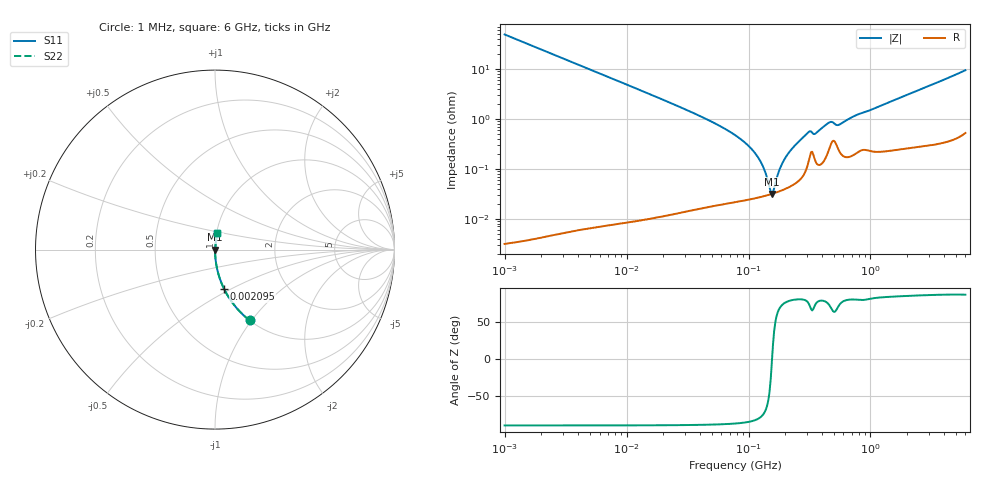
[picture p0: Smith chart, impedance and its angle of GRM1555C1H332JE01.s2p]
!Murata Part Number: GRM1555C1H332JE01
!These Parameters are Measured in Series Mode Connection
!Data Generated on Mar 30, 2021
!  o--ll--o
!Port1  Port2
!  o------o
!Operation Temp=25[degC], DC Bias Voltage=0[V]
!Freq. Start=1000[kHz] Stop=6[GHz] 401[Steps]
# Hz S RI R 50
!Freq.(Hz) S11(Real) S11(Imag) S21(Real) S21(Imag) S12(Real) S12(Imag) S22(Real) S22(Imag)
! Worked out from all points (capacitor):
!   401 points, 1 MHz to 6 GHz, reference 50 ohm
!   read as one part in series: C = 3.25 nF near 1.044 MHz
!   lowest |Z| = 31.4 mohm at 155.4 MHz (marker M1)
!   series resonance near 155.9 MHz, so ESL is about 320 pH
!   S11 on the Smith chart (normalised r, x): 1 MHz: 1.00, -0.98; 2.095 MHz: 1.00, -0.47; 6 GHz: 1.01, +0.19
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1000000  0.1931 -0.3947  0.8069 0.3947  0.8069 0.3947  0.1931 -0.3947
2094801  0.0517 -0.2214  0.9483 0.2214  0.9483 0.2214  0.0517 -0.2214
4293785  0.0128 -0.1123  0.9872 0.1123  0.9872 0.1123  0.0128 -0.1123
1.843659e7  0.000788 -0.0261  0.9992 0.0261  0.9992 0.0261  0.000788 -0.0261
4.596069e7  0.000263 -0.00966  0.9997 0.00966  0.9997 0.00966  0.000263 -0.00966
7.745967e7  0.000236 -0.00473  0.9998 0.00473  0.9998 0.00473  0.000236 -0.00473
1.005588e8  0.000249 -0.00283  0.9998 0.00283  0.9998 0.00283  0.000249 -0.00283
1.196694e8  0.000267 -0.00167  0.9997 0.00167  0.9997 0.00167  0.000267 -0.00167
1.334167e8  0.000283 -0.000979  0.9997 0.000979  0.9997 0.000979  0.000283 -0.000979
1.487431e8  0.000304 -0.000295  0.9997 0.000295  0.9997 0.000295  0.000304 -0.000295
1.553559e8  0.000314 -2.21e-05  0.9997 2.21e-05  0.9997 2.21e-05  0.000314 -2.21e-05
1.622626e8  0.000325 0.000251  0.9997 -0.000251  0.9997 -0.000251  0.000325 0.000251
1.848803e8  0.000365 0.00108  0.9996 -0.00108  0.9996 -0.00108  0.000365 0.00108
2.106508e8  0.000422 0.00195  0.9996 -0.00195  0.9996 -0.00195  0.000422 0.00195
3.048839e8  0.00119 0.00506  0.9988 -0.00506  0.9988 -0.00506  0.00119 0.00506
3.325952e8  0.00221 0.00479  0.9978 -0.00479  0.9978 -0.00479  0.00221 0.00479
3.550194e8  0.00141 0.0049  0.9986 -0.0049  0.9986 -0.0049  0.00141 0.0049
4.608893e8  0.00263 0.00807  0.9974 -0.00807  0.9974 -0.00807  0.00263 0.00807
5.484786e8  0.00242 0.00715  0.9976 -0.00715  0.9976 -0.00715  0.00242 0.00715
7.600468e8  0.00215 0.0116  0.9979 -0.0116  0.9979 -0.0116  0.00215 0.0116
1.428092e9  0.00273 0.0214  0.9973 -0.0214  0.9973 -0.0214  0.00273 0.0214
6e9  0.0138 0.0921  0.9862 -0.0921  0.9862 -0.0921  0.0138 0.0921
